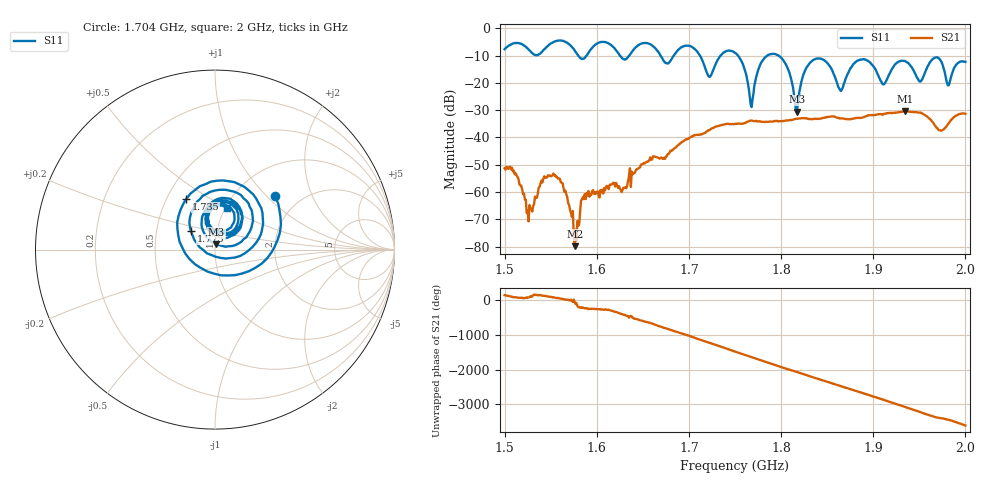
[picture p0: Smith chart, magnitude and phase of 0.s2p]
! NanoVNA-App by SYSJOINT et al v1.1.209 (+OD18)
! Date: 2026-01-21 14:49:59
! Start: 1,5GHz Stop: 2GHz Points: 501
! S-Parameter data: F S11 S21 S12 S22
# Hz S RI R 50
!  Frequency  S11_Real  S11_Imag  S21_Real  S21_Imag  S12_Real  S12_Imag  S22_Real  S22_Imag
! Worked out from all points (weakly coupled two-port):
!   501 points, 1.5 GHz to 2 GHz, reference 50 ohm
!   highest |S21| = -30.42 dB at 1.935 GHz (marker M1); lowest = -79.9 dB at 1.576 GHz (marker M2)
!   lowest |S11| = -30.6 dB at 1.817 GHz (marker M3), VSWR 1.06, Z = 50.7 + j2.89 ohm
!   |S11| at or under -10 dB: 1.712 GHz to 1.734 GHz (22.43 MHz wide, 1.3 % of centre); 1.753 GHz to 1.785 GHz (31.97 MHz wide, 1.81 % of centre); 1.797 GHz to end of sweep (the widest 3 of 6)
!   S12 and S22 are empty: the file has one direction only
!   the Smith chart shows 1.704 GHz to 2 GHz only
!   S11 on the Smith chart (normalised r, x): 1.704 GHz: 1.50, +1.12; 1.735 GHz: 0.63, +0.40; 1.775 GHz: 0.75, +0.16; 2 GHz: 1.02, +0.50
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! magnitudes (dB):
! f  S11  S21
! 1.5 GHz  -7.7  -51.3
! 1.526 GHz  -7.7  -70.8
! 1.558 GHz  -4.5  -55.1
! 1.576 GHz  -8.1  -79.9
! 1.584 GHz  -11.3  -62.6
! 1.667 GHz  -8.8  -47.5
! 1.704 GHz  -7.0  -39.6
! 1.722 GHz  -17.8  -37.4
! 1.735 GHz  -9.8  -35.5
! 1.75 GHz  -9.0  -35.0
! 1.768 GHz  -28.9  -33.9
! 1.775 GHz  -15.4  -34.1
! 1.799 GHz  -10.5  -34.0
! 1.817 GHz  -30.6  -33.1
! 1.834 GHz  -11.9  -33.4
! 1.864 GHz  -22.6  -33.0
! 1.885 GHz  -11.6  -32.8
! 1.917 GHz  -17.1  -31.1
! 1.935 GHz  -12.1  -30.4
! 1.97 GHz  -10.8  -36.8
! 1.981 GHz  -20.9  -35.2
! 2 GHz  -12.3  -31.4
